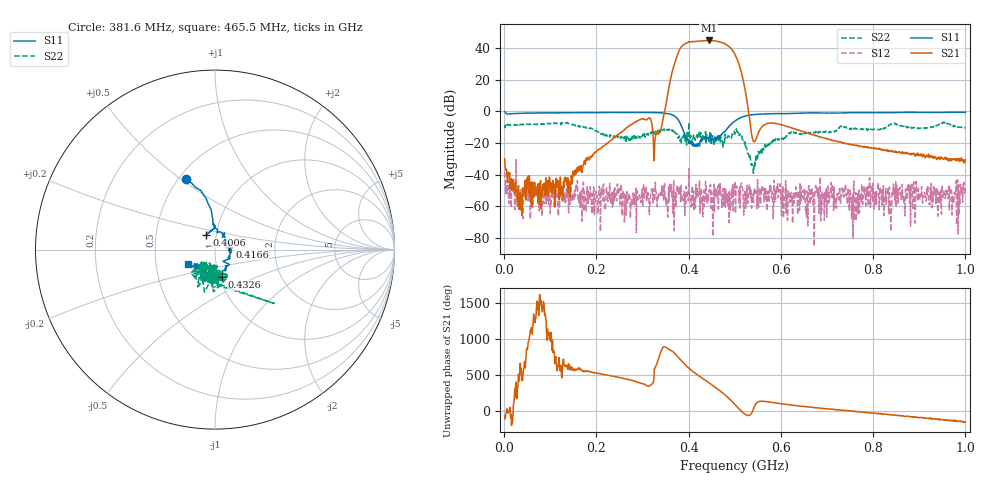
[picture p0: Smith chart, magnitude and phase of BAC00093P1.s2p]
!measured: 2026-10-29T11:10:02
!cal_instance: BB
!cal_created: 2026-10-29T10:46
!cal_file: SOLT_12_1_00M-1_00G_1001pt.cal
!port1_delay_ps: 0.0
!port2_delay_ps: 0.0
!host: lindon
! Created with skrf 2.1.0 (http://scikit-rf.org).
# Hz S RI R 50.0
!freq ReS11 ImS11 ReS21 ImS21 ReS12 ImS12 ReS22 ImS22
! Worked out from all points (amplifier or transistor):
!   1001 points, 1 MHz to 1 GHz, reference 50 ohm
!   highest |S21| = 44.8 dB at 443.6 MHz (marker M1)
!   |S21| within 3 dB of that: 387.4 MHz to 483.8 MHz (96.37 MHz wide, 22.1 % of centre)
!   unconditionally stable (mu >= 1): start of sweep to 400.3 MHz; 401.1 MHz to 423.3 MHz; 463.5 MHz to end of sweep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
!   at 166.8 MHz: K = 1404.81, MAG = -26.3 dB, |S12| = -50.5 dB
!   at 500.5 MHz: K = 1.14, MAG = 37.8 dB, |S12| = -44.3 dB
!   at 1 GHz: K = 489.81, MAG = -21.4 dB, |S12| = -47.6 dB
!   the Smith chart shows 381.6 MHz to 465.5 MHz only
!   S11 on the Smith chart (normalised r, x): 381.6 MHz: 0.55, +0.52; 400.6 MHz: 0.90, +0.15; 416.6 MHz: 1.17, +0.04; 432.6 MHz: 1.03, -0.32; 465.5 MHz: 0.73, -0.12
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1000000  -0.3099 0.9212  0.0077 -0.0306  -0.0118 0.000177  0.3651 -0.0169
1.67833e8  0.5495 -0.7174  -0.0116 -0.00629  0.00298 -0.00117  0.00862 -0.3233
3.34666e8  -0.7266 -0.5425  0.189 0.00178  0.00164 0.00164  0.0651 -0.2315
3.65635e8  -0.728 0.2269  -4.914 20.06  -0.000183 0.000578  -0.0444 -0.2546
3.74626e8  -0.4263 0.435  37.92 39.1  -0.000263 0.00433  -0.0895 -0.1742
3.81619e8  -0.1621 0.3922  96.62 -8.192  0.00222 -0.00192  -0.0666 -0.0925
3.92608e8  -0.0118 0.1659  21.44 -135.7  -0.000969 0.0021  -0.0687 -0.0917
4.006e8  -0.0484 0.0836  -101.2 -125.3  -0.00658 0.0139  0.3299 -0.3003
4.08592e8  0.0533 0.0941  -158.1 -26.08  0.00405 -0.0019  -0.0977 -0.0869
4.16584e8  0.0802 0.017  -141.8 79.48  0.000769 0.00154  -0.0243 -0.1438
4.32568e8  0.0385 -0.1521  32.61 166.5  0.0031 0.000887  0.056 -0.1648
4.43557e8  -0.0503 -0.1217  150.3 87.35  -0.00171 -0.000897  0.00405 -0.1124
4.53547e8  -0.0782 -0.0977  164.1 -46.23  -0.000795 -0.00104  0.033 -0.1416
4.65535e8  -0.1524 -0.0825  48.01 -151.9  -0.000113 0.00409  -0.025 -0.1162
4.73527e8  -0.2018 -0.0103  -56.76 -135.3  -0.00175 0.00139  -0.011 -0.1057
4.82518e8  -0.2331 0.1499  -119.6 -39.93  0.00212 0.00106  0.0437 -0.1489
4.92508e8  -0.1509 0.3644  -69.75 63.93  -0.000219 -0.00165  -0.0369 -0.1383
5.005e8  0.0265 0.4819  6.403 62.19  0.00412 -0.0045  -0.1175 -0.1491
5.18482e8  0.5032 0.4612  7.925 -5.084  -0.000467 -0.00145  -0.1084 -0.059
6.67333e8  0.3076 -0.8353  0.1299 0.1322  3.88e-05 -0.00297  0.116 -0.1757
8.34166e8  -0.2537 -0.8677  0.0277 -0.0465  0.000559 -0.000158  -0.00225 -0.3709
1e9  -0.5976 -0.7131  -0.028 -0.0101  -0.00242 0.00339  -0.0923 -0.2964
